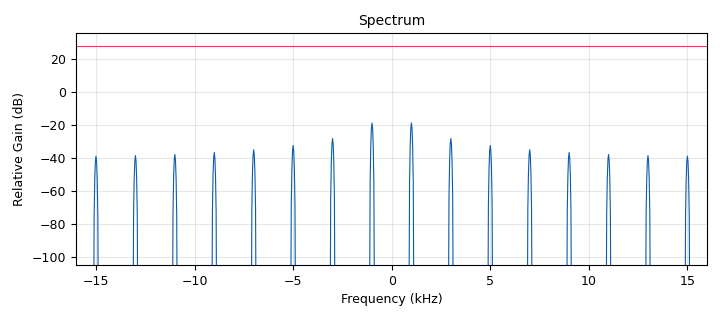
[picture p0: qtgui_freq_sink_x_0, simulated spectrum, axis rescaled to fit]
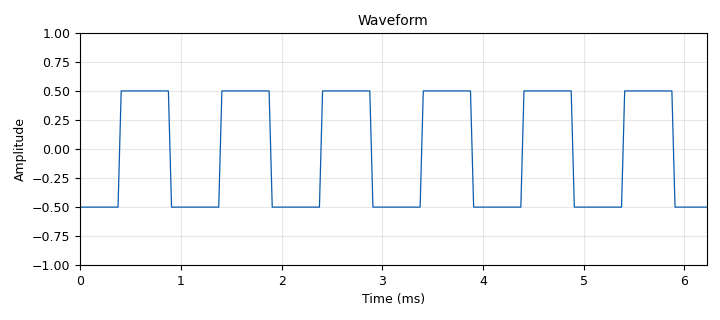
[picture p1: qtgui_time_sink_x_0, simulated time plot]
options:
  parameters:
    author: Qasim Chaudhari
    generate_options: qt_gui
    id: exploring_frequency_domain_test
    output_language: python
    title: Exploring Frequency Domain Test
  states: {}

blocks:
- name: cutoff_freq
  id: variable_qtgui_range
  parameters:
    gui_hint: 0,0,1,1
    label: Cutoff Frequency
    orient: Qt.Horizontal
    start: '100'
    step: '100'
    stop: samp_rate/2
    value: samp_rate/2
  states: {}
- name: nfft
  id: variable
  parameters:
    value: '1024'
  states: {}
- name: samp_rate
  id: variable
  parameters:
    value: '32000'
  states: {}
- name: analog_sig_source_x_0
  id: analog_sig_source_x
  parameters:
    amp: '1'
    freq: '1000'
    offset: '-0.5'
    phase: '0'
    samp_rate: samp_rate
    type: float
    waveform: analog.GR_SQR_WAVE
  states: {}
- name: blocks_throttle_0
  id: blocks_throttle
  parameters:
    samples_per_second: samp_rate
    type: float
  states: {}
- name: blocks_throttle_0_0
  id: blocks_throttle
  parameters:
    samples_per_second: samp_rate
    type: float
  states: {}
- name: blocks_vector_source_x_0
  id: blocks_vector_source_x
  parameters:
    repeat: 'True'
    type: float
    vector: nfft*np.hstack((1,np.zeros(nfft-1)))
  states: {}
- name: import_0
  id: import
  parameters:
    imports: "\n\nimport numpy as np"
  states: {}
- name: low_pass_filter_0
  id: low_pass_filter
  parameters:
    cutoff_freq: cutoff_freq
    decim: '1'
    gain: '1'
    samp_rate: samp_rate
    type: fir_filter_fff
    width: '1000'
    win: firdes.WIN_BLACKMAN
  states: {}
- name: low_pass_filter_0_0
  id: low_pass_filter
  parameters:
    cutoff_freq: cutoff_freq
    decim: '1'
    gain: '100'
    samp_rate: samp_rate
    type: fir_filter_fff
    width: '1000'
    win: firdes.WIN_BLACKMAN
  states: {}
- name: qtgui_freq_sink_x_0
  id: qtgui_freq_sink_x
  parameters:
    bw: samp_rate
    fc: '0'
    fftsize: '1024'
    grid: 'True'
    gui_hint: 2,0,1,1
    label1: Signal
    label2: Filter
    legend: 'False'
    name: Spectrum
    nconnections: '2'
    showports: 'True'
    type: float
    wintype: firdes.WIN_BLACKMAN_hARRIS
    ymax: '0'
    ymin: '-100'
  states: {}
- name: qtgui_time_sink_x_0
  id: qtgui_time_sink_x
  parameters:
    grid: 'True'
    gui_hint: 1,0,1,1
    label1: Signal
    legend: 'False'
    name: Waveform
    size: '200'
    srate: samp_rate
    type: float
  states: {}

connections:
- [analog_sig_source_x_0, '0', blocks_throttle_0, '0']
- [blocks_throttle_0, '0', low_pass_filter_0, '0']
- [blocks_throttle_0_0, '0', low_pass_filter_0_0, '0']
- [blocks_vector_source_x_0, '0', blocks_throttle_0_0, '0']
- [low_pass_filter_0, '0', qtgui_freq_sink_x_0, '0']
- [low_pass_filter_0, '0', qtgui_time_sink_x_0, '0']
- [low_pass_filter_0_0, '0', qtgui_freq_sink_x_0, '1']

metadata:
  file_format: 1
